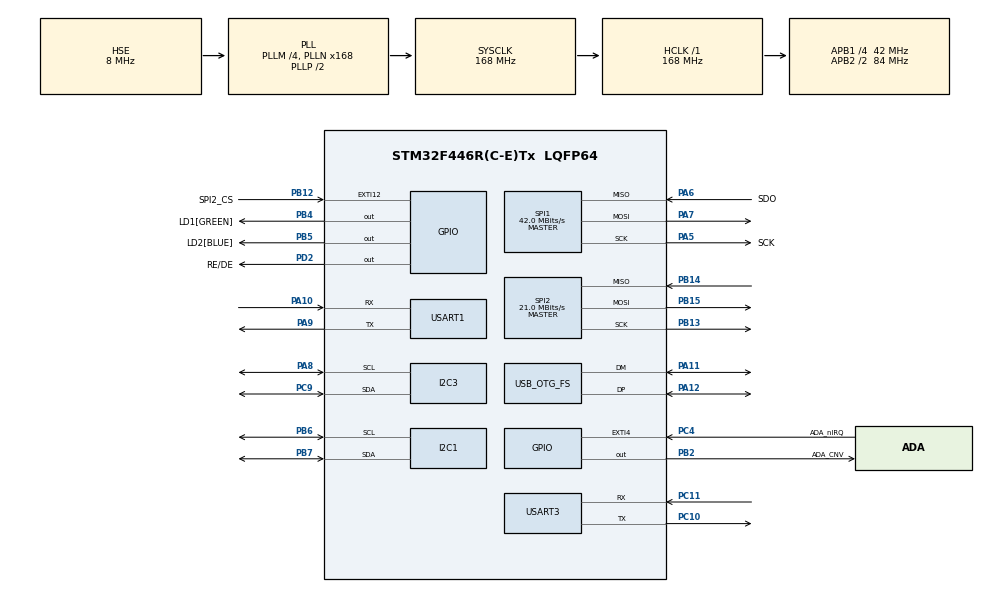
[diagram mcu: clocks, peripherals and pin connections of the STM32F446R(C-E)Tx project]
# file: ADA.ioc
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Mcu.Family=STM32F4
Mcu.Name=STM32F446R(C-E)Tx
Mcu.Package=LQFP64
NVIC.OTG_FS_IRQn=true\:0\:0\:false\:false\:true\:false\:true\:true
NVIC.PriorityGroup=NVIC_PRIORITYGROUP_4
NVIC.USART3_IRQn=true\:0\:0\:false\:false\:true\:true\:true\:true
PA10.Mode=Asynchronous
PA10.Signal=USART1_RX
PA11.Mode=Device_Only
PA11.Signal=USB_OTG_FS_DM
PA12.Mode=Device_Only
PA12.Signal=USB_OTG_FS_DP
PA13.Mode=Trace_Asynchronous_SW
PA13.Signal=SYS_JTMS-SWDIO
PA14.Mode=Trace_Asynchronous_SW
PA14.Signal=SYS_JTCK-SWCLK
PA5.GPIO_Label=SCK
PA5.Mode=Full_Duplex_Master
PA5.Signal=SPI1_SCK
PA6.GPIO_Label=SDO
PA6.Mode=Full_Duplex_Master
PA6.Signal=SPI1_MISO
PA7.Mode=Full_Duplex_Master
PA7.Signal=SPI1_MOSI
PA8.Mode=I2C
PA8.Signal=I2C3_SCL
PA9.Mode=Asynchronous
PA9.Signal=USART1_TX
PB12.GPIO_Label=SPI2_CS
PB12.Signal=GPXTI12
PB13.Mode=Full_Duplex_Master
PB13.Signal=SPI2_SCK
PB14.Mode=Full_Duplex_Master
PB14.Signal=SPI2_MISO
PB15.Mode=Full_Duplex_Master
PB15.Signal=SPI2_MOSI
PB2.GPIO_Label=ADA_CNV
PB2.Signal=GPIO_Output
PB3.Mode=Trace_Asynchronous_SW
PB3.Signal=SYS_JTDO-SWO
PB4.GPIO_Label=LD1[GREEN]
PB4.Signal=GPIO_Output
PB5.GPIO_Label=LD2[BLUE]
PB5.Signal=GPIO_Output
PB6.Mode=I2C
PB6.Signal=I2C1_SCL
PB7.Mode=I2C
PB7.Signal=I2C1_SDA
PC10.Mode=Asynchronous
PC10.Signal=USART3_TX
PC11.Mode=Asynchronous
PC11.Signal=USART3_RX
PC4.GPIO_Label=ADA_nIRQ
PC4.Signal=GPXTI4
PC9.Mode=I2C
PC9.Signal=I2C3_SDA
PD2.GPIO_Label=RE/DE
PD2.Signal=GPIO_Output
PH0-OSC_IN.Mode=HSE-External-Oscillator
PH0-OSC_IN.Signal=RCC_OSC_IN
PH1-OSC_OUT.Mode=HSE-External-Oscillator
PH1-OSC_OUT.Signal=RCC_OSC_OUT
ProjectManager.HeapSize=0x200
ProjectManager.StackSize=0x400
ProjectManager.TargetToolchain=STM32CubeIDE
RCC.AHBFreq_Value=168000000
RCC.APB1CLKDivider=RCC_HCLK_DIV4
RCC.APB1Freq_Value=42000000
RCC.APB1TimFreq_Value=84000000
RCC.APB2CLKDivider=RCC_HCLK_DIV2
RCC.APB2Freq_Value=84000000
RCC.APB2TimFreq_Value=168000000
RCC.CortexFreq_Value=168000000
RCC.HCLKFreq_Value=168000000
RCC.HSE_VALUE=8000000
RCC.PLLM=4
RCC.PLLN=168
RCC.PLLQ=7
RCC.PLLSourceVirtual=RCC_PLLSOURCE_HSE
RCC.SYSCLKFreq_VALUE=168000000
RCC.SYSCLKSource=RCC_SYSCLKSOURCE_PLLCLK
RCC.USBFreq_Value=48000000
RCC.VCOOutputFreq_Value=336000000
SPI1.CalculateBaudRate=42.0 MBits/s
SPI1.DataSize=SPI_DATASIZE_16BIT
SPI1.Direction=SPI_DIRECTION_2LINES
SPI1.Mode=SPI_MODE_MASTER
SPI1.VirtualType=VM_MASTER
SPI2.CalculateBaudRate=21.0 MBits/s
SPI2.Direction=SPI_DIRECTION_2LINES
SPI2.Mode=SPI_MODE_MASTER
SPI2.VirtualType=VM_MASTER
USART1.VirtualMode=VM_ASYNC
USART3.VirtualMode=VM_ASYNC
USB_DEVICE.CLASS_NAME_FS=CDC
USB_DEVICE.VirtualMode-CDC_FS=Cdc
USB_DEVICE.VirtualModeFS=Cdc_FS
USB_OTG_FS.VirtualMode=Device_Only
VP_USB_DEVICE_VS_USB_DEVICE_CDC_FS.Mode=CDC_FS
board=custom

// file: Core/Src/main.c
/* USER CODE BEGIN Header */
/**
  ******************************************************************************
  * @file           : main.c
  * @brief          : Main program body
  ******************************************************************************
  * @attention
  *
  * Copyright (c) 2025 STMicroelectronics.
  * All rights reserved.
  *
  * This software is licensed under terms that can be found in the LICENSE file
  * in the root directory of this software component.
  * If no LICENSE file comes with this software, it is provided AS-IS.
  *
  ******************************************************************************
  */
/* USER CODE END Header */
#include "main.h"
#include "usb_device.h"

/* USER CODE BEGIN Includes */
//#include "common.h"
#include "usbd_cdc_if.h"
#include "delay_micros.h"
#include "ADA.h"
#include "USART_cmd.h"
/* USER CODE END Includes */

/* USER CODE BEGIN PD */
#define USB_BUFFLEN 128
/* USER CODE END PD */

I2C_HandleTypeDef hi2c1;
I2C_HandleTypeDef hi2c3;

SPI_HandleTypeDef hspi1;
SPI_HandleTypeDef hspi2;

UART_HandleTypeDef huart1;
UART_HandleTypeDef huart3;

/* USER CODE BEGIN PV */
uint8_t usbTxBuf[USB_BUFFLEN];
uint16_t usbTxBufLen;
uint8_t usbRxBuf[USB_BUFFLEN];
uint16_t usbRxBufLen;
bool usbRxFlag;
/* USER CODE END PV */

void SystemClock_Config(void);
static void MX_GPIO_Init(void);
static void MX_I2C1_Init(void);
static void MX_I2C3_Init(void);
static void MX_SPI1_Init(void);
static void MX_SPI2_Init(void);
static void MX_USART1_UART_Init(void);
static void MX_USART3_UART_Init(void);
/* USER CODE BEGIN PFP */
extern char str[100];
extern void string_parse();
/* USER CODE END PFP */

int main(void)
{

  /* MCU Configuration--------------------------------------------------------*/

  /* Reset of all peripherals, Initializes the Flash interface and the Systick. */
  HAL_Init();

  /* Configure the system clock */
  SystemClock_Config();

  /* Initialize all configured peripherals */
  MX_GPIO_Init();
  MX_I2C1_Init();
  MX_I2C3_Init();
  MX_SPI1_Init();
  MX_SPI2_Init();
  MX_USART1_UART_Init();
  MX_USART3_UART_Init();
  MX_USB_DEVICE_Init();
  /* USER CODE BEGIN 2 */
  DWT_Init();
   USART_net_init(&uart_printf);
   USART_set_parse_func(string_parse);
   HAL_UART_Receive_IT(&uart_printf,(uint8_t*)str,1);

   HAL_GPIO_WritePin(LD1_GPIO_Port,LD1_Pin,SET);
   HAL_GPIO_WritePin(LD2_GPIO_Port,LD2_Pin,SET);

   HAL_Delay(500);
   HAL_GPIO_WritePin(LD1_GPIO_Port,LD1_Pin,RESET);
   HAL_GPIO_WritePin(LD2_GPIO_Port,LD2_Pin,RESET);
   printf("F4 start\n");
  /* USER CODE END 2 */

  /* Infinite loop */
  /* USER CODE BEGIN WHILE */
  while (1)
  {
	  //usbTxBufLen = snprintf((char *) usbTxBuf, USB_BUFFLEN,"On\n");
	 				//  CDC_Transmit_FS(usbTxBuf, usbTxBufLen);
		 if(ADA.mode == MODE_ON){
			  //__disable_irq();
			  ADA_ReadADC();
			  HAL_Delay(1);
			  //__enable_irq();
		 }
    /* USER CODE END WHILE */

  }
}

void SystemClock_Config(void)
{
  RCC_OscInitTypeDef RCC_OscInitStruct = {0};
  RCC_ClkInitTypeDef RCC_ClkInitStruct = {0};

  /** Configure the main internal regulator output voltage
  */
  __HAL_RCC_PWR_CLK_ENABLE();
  __HAL_PWR_VOLTAGESCALING_CONFIG(PWR_REGULATOR_VOLTAGE_SCALE1);

  /** Initializes the RCC Oscillators according to the specified parameters
  * in the RCC_OscInitTypeDef structure.
  */
  RCC_OscInitStruct.OscillatorType = RCC_OSCILLATORTYPE_HSE;
  RCC_OscInitStruct.HSEState = RCC_HSE_ON;
  RCC_OscInitStruct.PLL.PLLState = RCC_PLL_ON;
  RCC_OscInitStruct.PLL.PLLSource = RCC_PLLSOURCE_HSE;
  RCC_OscInitStruct.PLL.PLLM = 4;
  RCC_OscInitStruct.PLL.PLLN = 168;
  RCC_OscInitStruct.PLL.PLLP = RCC_PLLP_DIV2;
  RCC_OscInitStruct.PLL.PLLQ = 7;
  RCC_OscInitStruct.PLL.PLLR = 2;
  if (HAL_RCC_OscConfig(&RCC_OscInitStruct) != HAL_OK)
  {
    Error_Handler();
  }

  /** Initializes the CPU, AHB and APB buses clocks
  */
  RCC_ClkInitStruct.ClockType = RCC_CLOCKTYPE_HCLK|RCC_CLOCKTYPE_SYSCLK
                              |RCC_CLOCKTYPE_PCLK1|RCC_CLOCKTYPE_PCLK2;
  RCC_ClkInitStruct.SYSCLKSource = RCC_SYSCLKSOURCE_PLLCLK;
  RCC_ClkInitStruct.AHBCLKDivider = RCC_SYSCLK_DIV1;
  RCC_ClkInitStruct.APB1CLKDivider = RCC_HCLK_DIV4;
  RCC_ClkInitStruct.APB2CLKDivider = RCC_HCLK_DIV2;

  if (HAL_RCC_ClockConfig(&RCC_ClkInitStruct, FLASH_LATENCY_5) != HAL_OK)
  {
    Error_Handler();
  }
}

static void MX_I2C1_Init(void)
{

  hi2c1.Instance = I2C1;
  hi2c1.Init.ClockSpeed = 100000;
  hi2c1.Init.DutyCycle = I2C_DUTYCYCLE_2;
  hi2c1.Init.OwnAddress1 = 0;
  hi2c1.Init.AddressingMode = I2C_ADDRESSINGMODE_7BIT;
  hi2c1.Init.DualAddressMode = I2C_DUALADDRESS_DISABLE;
  hi2c1.Init.OwnAddress2 = 0;
  hi2c1.Init.GeneralCallMode = I2C_GENERALCALL_DISABLE;
  hi2c1.Init.NoStretchMode = I2C_NOSTRETCH_DISABLE;
  if (HAL_I2C_Init(&hi2c1) != HAL_OK)
  {
    Error_Handler();
  }

}

static void MX_I2C3_Init(void)
{

  hi2c3.Instance = I2C3;
  hi2c3.Init.ClockSpeed = 100000;
  hi2c3.Init.DutyCycle = I2C_DUTYCYCLE_2;
  hi2c3.Init.OwnAddress1 = 0;
  hi2c3.Init.AddressingMode = I2C_ADDRESSINGMODE_7BIT;
  hi2c3.Init.DualAddressMode = I2C_DUALADDRESS_DISABLE;
  hi2c3.Init.OwnAddress2 = 0;
  hi2c3.Init.GeneralCallMode = I2C_GENERALCALL_DISABLE;
  hi2c3.Init.NoStretchMode = I2C_NOSTRETCH_DISABLE;
  if (HAL_I2C_Init(&hi2c3) != HAL_OK)
  {
    Error_Handler();
  }

}

static void MX_SPI1_Init(void)
{

  /* SPI1 parameter configuration*/
  hspi1.Instance = SPI1;
  hspi1.Init.Mode = SPI_MODE_MASTER;
  hspi1.Init.Direction = SPI_DIRECTION_2LINES;
  hspi1.Init.DataSize = SPI_DATASIZE_16BIT;
  hspi1.Init.CLKPolarity = SPI_POLARITY_LOW;
  hspi1.Init.CLKPhase = SPI_PHASE_1EDGE;
  hspi1.Init.NSS = SPI_NSS_SOFT;
  hspi1.Init.BaudRatePrescaler = SPI_BAUDRATEPRESCALER_2;
  hspi1.Init.FirstBit = SPI_FIRSTBIT_MSB;
  hspi1.Init.TIMode = SPI_TIMODE_DISABLE;
  hspi1.Init.CRCCalculation = SPI_CRCCALCULATION_DISABLE;
  hspi1.Init.CRCPolynomial = 10;
  if (HAL_SPI_Init(&hspi1) != HAL_OK)
  {
    Error_Handler();
  }

}

static void MX_SPI2_Init(void)
{

  /* SPI2 parameter configuration*/
  hspi2.Instance = SPI2;
  hspi2.Init.Mode = SPI_MODE_MASTER;
  hspi2.Init.Direction = SPI_DIRECTION_2LINES;
  hspi2.Init.DataSize = SPI_DATASIZE_8BIT;
  hspi2.Init.CLKPolarity = SPI_POLARITY_LOW;
  hspi2.Init.CLKPhase = SPI_PHASE_1EDGE;
  hspi2.Init.NSS = SPI_NSS_SOFT;
  hspi2.Init.BaudRatePrescaler = SPI_BAUDRATEPRESCALER_2;
  hspi2.Init.FirstBit = SPI_FIRSTBIT_MSB;
  hspi2.Init.TIMode = SPI_TIMODE_DISABLE;
  hspi2.Init.CRCCalculation = SPI_CRCCALCULATION_DISABLE;
  hspi2.Init.CRCPolynomial = 10;
  if (HAL_SPI_Init(&hspi2) != HAL_OK)
  {
    Error_Handler();
  }

}

static void MX_USART1_UART_Init(void)
{

  huart1.Instance = USART1;
  huart1.Init.BaudRate = 115200;
  huart1.Init.WordLength = UART_WORDLENGTH_8B;
  huart1.Init.StopBits = UART_STOPBITS_1;
  huart1.Init.Parity = UART_PARITY_NONE;
  huart1.Init.Mode = UART_MODE_TX_RX;
  huart1.Init.HwFlowCtl = UART_HWCONTROL_NONE;
  huart1.Init.OverSampling = UART_OVERSAMPLING_16;
  if (HAL_UART_Init(&huart1) != HAL_OK)
  {
    Error_Handler();
  }

}

static void MX_USART3_UART_Init(void)
{

  huart3.Instance = USART3;
  huart3.Init.BaudRate = 115200;
  huart3.Init.WordLength = UART_WORDLENGTH_8B;
  huart3.Init.StopBits = UART_STOPBITS_1;
  huart3.Init.Parity = UART_PARITY_NONE;
  huart3.Init.Mode = UART_MODE_TX_RX;
  huart3.Init.HwFlowCtl = UART_HWCONTROL_NONE;
  huart3.Init.OverSampling = UART_OVERSAMPLING_16;
  if (HAL_UART_Init(&huart3) != HAL_OK)
  {
    Error_Handler();
  }

}

static void MX_GPIO_Init(void)
{
  GPIO_InitTypeDef GPIO_InitStruct = {0};

  /* GPIO Ports Clock Enable */
  __HAL_RCC_GPIOH_CLK_ENABLE();
  __HAL_RCC_GPIOA_CLK_ENABLE();
  __HAL_RCC_GPIOC_CLK_ENABLE();
  __HAL_RCC_GPIOB_CLK_ENABLE();
  __HAL_RCC_GPIOD_CLK_ENABLE();

  /*Configure GPIO pin Output Level */
  HAL_GPIO_WritePin(GPIOB, ADA_CNV_Pin|LD1_Pin|LD2_Pin, GPIO_PIN_RESET);

  /*Configure GPIO pin Output Level */
  HAL_GPIO_WritePin(RE_DE_GPIO_Port, RE_DE_Pin, GPIO_PIN_RESET);

  /*Configure GPIO pin : ADA_nIRQ_Pin */
  GPIO_InitStruct.Pin = ADA_nIRQ_Pin;
  GPIO_InitStruct.Mode = GPIO_MODE_IT_RISING;
  GPIO_InitStruct.Pull = GPIO_NOPULL;
  HAL_GPIO_Init(ADA_nIRQ_GPIO_Port, &GPIO_InitStruct);

  /*Configure GPIO pins : ADA_CNV_Pin LD1_Pin LD2_Pin */
  GPIO_InitStruct.Pin = ADA_CNV_Pin|LD1_Pin|LD2_Pin;
  GPIO_InitStruct.Mode = GPIO_MODE_OUTPUT_PP;
  GPIO_InitStruct.Pull = GPIO_NOPULL;
  GPIO_InitStruct.Speed = GPIO_SPEED_FREQ_LOW;
  HAL_GPIO_Init(GPIOB, &GPIO_InitStruct);

  /*Configure GPIO pin : SPI2_CS_Pin */
  GPIO_InitStruct.Pin = SPI2_CS_Pin;
  GPIO_InitStruct.Mode = GPIO_MODE_IT_RISING;
  GPIO_InitStruct.Pull = GPIO_NOPULL;
  HAL_GPIO_Init(SPI2_CS_GPIO_Port, &GPIO_InitStruct);

  /*Configure GPIO pin : RE_DE_Pin */
  GPIO_InitStruct.Pin = RE_DE_Pin;
  GPIO_InitStruct.Mode = GPIO_MODE_OUTPUT_PP;
  GPIO_InitStruct.Pull = GPIO_NOPULL;
  GPIO_InitStruct.Speed = GPIO_SPEED_FREQ_LOW;
  HAL_GPIO_Init(RE_DE_GPIO_Port, &GPIO_InitStruct);

}

/* USER CODE BEGIN 4 */

int _write(int file, char *ptr, int len)
 {
	//if(USART_CMD_ON != true)
	//	return 1;
	(void)file;
	if(file == 1){
		//usbTxBufLen = snprintf((char *) usbTxBuf, USB_BUFFLEN,"On\n");
//		static uint8_t rc = USBD_OK;
//
//				    do {
//				        rc = CDC_Transmit_FS((uint8_t*)ptr, len);
//				    } while (USBD_BUSY == rc);
//
//				    if (USBD_FAIL == rc) {
//				        /// NOTE: Should never reach here.
//				        /// TODO: Handle this error.
//				        return 0;
//				    }
//			}
	HAL_GPIO_WritePin(RE_DE_GPIO_Port,RE_DE_Pin,SET);
	HAL_UART_Transmit(&uart_printf,(uint8_t*)ptr,len,HAL_MAX_DELAY);
	HAL_GPIO_WritePin(RE_DE_GPIO_Port,RE_DE_Pin,RESET);
	}
	//HAL_UART_Transmit_DMA(&huart3,(uint8_t*)ptr,len);
	return len;
 }

void HAL_UART_RxCpltCallback(UART_HandleTypeDef *huart)
 {
   if(huart==&huart3)
   {
     USART_cmd_RxCpltCallback();
   }
 }

void HAL_UART_TxCpltCallback(UART_HandleTypeDef *huart){
	 if(huart==&huart3)
	   {
			HAL_GPIO_WritePin(RE_DE_GPIO_Port,RE_DE_Pin,RESET);

	   }
}

void HAL_GPIO_EXTI_Callback(uint16_t GPIO_Pin)
{
  if(GPIO_Pin == ADA_nIRQ_Pin) {
	  HAL_NVIC_DisableIRQ(EXTI15_10_IRQn);
	  ADA_ReadADC();
  }
 }

//void HAL_TIM_PWM_PulseFinishedCallback(TIM_HandleTypeDef *htim){
//	if(htim==&CNV_timer){
//		//HAL_GPIO_TogglePin(ADA_CNV_GPIO_Port, ADA_CNV_Pin);
//		ADA_ReadADC();
//	}
//}

void USB_RXCallback(uint8_t* Buf, uint32_t *Len){
	memcpy(usbRxBuf, Buf, *Len);
	usbRxBufLen = *Len;
	usbRxFlag = 1;

	//USB_exec_command(usbRxBuf,usbRxBufLen,usbRxFlag);
	string_parse((char*)usbRxBuf);
}

void USB_exec_command(uint8_t* RxBuf,uint16_t RxBufLen, bool RxFlag){
	if(RxFlag && RxBufLen){
			  //uint32_t timeNowMS = HAL_GetTick();
			  //usbTxBufLen = snprintf((char *) usbTxBuf, USB_BUFFLEN,"[%02lu:%02lu] %u\r\n", (timeNowMS /60000), (timeNowMS / 1000)%60, usbRxBufLen);
			  if(strncmp((char*)RxBuf,"on:",3)==0){
				  HAL_GPIO_WritePin(LD1_GPIO_Port,LD1_Pin,SET);
				  //usbTxBufLen = snprintf((char *) usbTxBuf, USB_BUFFLEN,"On\n");
				  //CDC_Transmit_FS(usbTxBuf, usbTxBufLen);
				  printf("On\n");
			  }else if(strncmp((char*)RxBuf,"off:",4) == 0){
				  HAL_GPIO_WritePin(LD1_GPIO_Port,LD1_Pin,RESET);
				  printf("Off\n");
			  }

			  RxFlag = 0;
			  RxBufLen = 0;
		  }
}
/* USER CODE END 4 */

void Error_Handler(void)
{
  __disable_irq();
  while (1)
  {
  }
}
